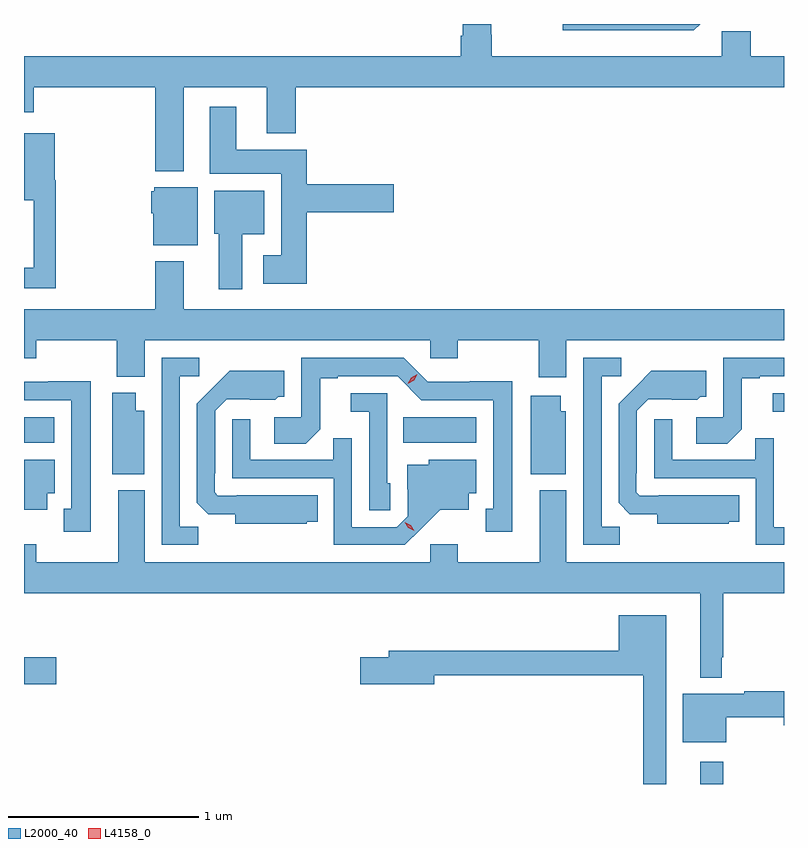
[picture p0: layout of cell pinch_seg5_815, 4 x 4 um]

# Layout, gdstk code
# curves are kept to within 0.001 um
import gdstk
lib = gdstk.Library(unit=1e-6, precision=1e-09)
def R(c, l, rs):  # rectangles x0, y0, x1, y1
    for r in rs: c.add(gdstk.rectangle(r[:2], r[2:], *l))
def P(c, l, *ps):  # polygons
    for p in ps: c.add(gdstk.Polygon(p, *l))
L2000_40 = (2000, 40)
L4158_0 = (4158, 0)

pinch_seg5_815 = lib.new_cell('pinch_seg5_815')
R(pinch_seg5_815, L2000_40, [(770.075,889.057,770.197,889.174), (766.517,889.583,766.687,889.725), (766.517,890.852,766.675,890.986), (768.514,890.852,768.898,890.986), (770.457,891.017,770.517,891.114)])
P(pinch_seg5_815, L2000_40, [(767.359,892.724),(767.795,892.724),(767.795,892.481),(767.948,892.481),(767.948,892.724),(770.517,892.724),(770.517,892.888),(770.342,892.888),(770.342,893.02),(770.19,893.02),(770.19,892.888),(768.98,892.888),(768.98,893.001),(768.975,893.001),(768.975,893.057),(768.827,893.057),(768.827,892.994),(768.815,892.994),(768.815,892.888),(766.517,892.888),(766.517,892.593),(766.568,892.593),(766.568,892.724),(767.207,892.724),(767.207,892.283),(767.359,892.283)],
  [(770.075,893.057),(769.353,893.057),(769.353,893.024),(770.042,893.024)],
  [(768.005,892.067),(768.463,892.067),(768.463,892.214),(768.005,892.214),(768.005,892.396),(767.635,892.396),(767.635,892.621),(767.495,892.621),(767.495,892.268),(767.87,892.268),(767.87,891.841),(767.775,891.841),(767.775,891.689),(768.005,891.689)],
  [(766.685,892.234),(766.679,892.234),(766.679,892.483),(766.517,892.483),(766.517,892.13),(766.568,892.13),(766.568,891.775),(766.517,891.775),(766.517,891.666),(766.685,891.666)],
  [(767.431,892.198),(767.202,892.198),(767.202,892.176),(767.186,892.176),(767.186,892.062),(767.198,892.062),(767.198,891.893),(767.431,891.893)],
  [(767.665,891.95),(767.782,891.95),(767.782,892.18),(767.519,892.18),(767.519,891.954),(767.543,891.954),(767.543,891.66),(767.665,891.66)],
  [(769.372,891.392),(770.517,891.392),(770.517,891.556),(767.359,891.556),(767.359,891.808),(767.207,891.808),(767.207,891.556),(766.517,891.556),(766.517,891.299),(766.581,891.299),(766.581,891.392),(767.005,891.392),(767.005,891.2),(767.152,891.2),(767.152,891.392),(768.654,891.392),(768.654,891.299),(768.801,891.299),(768.801,891.392),(769.225,891.392),(769.225,891.198),(769.372,891.198)],
  [(769.653,890.411),(769.557,890.411),(769.557,891.204),(769.66,891.204),(769.66,891.3),(769.461,891.3),(769.461,890.316),(769.653,890.316)],
  [(767.433,890.411),(767.337,890.411),(767.337,891.204),(767.44,891.204),(767.44,891.3),(767.241,891.3),(767.241,890.316),(767.433,890.316)],
  [(769.087,891.176),(768.864,891.176),(768.864,891.174),(768.642,891.174),(768.516,891.3),(767.976,891.3),(767.976,890.988),(767.835,890.988),(767.835,890.848),(767.999,890.848),(768.075,890.924),(768.075,891.192),(768.169,891.192),(768.169,891.204),(768.483,891.204),(768.609,891.078),(768.986,891.078),(768.986,890.505),(768.947,890.505),(768.947,890.385),(769.087,890.385)],
  [(770.295,890.924),(770.295,891.192),(770.389,891.192),(770.389,891.204),(770.517,891.204),(770.517,891.3),(770.196,891.3),(770.196,890.988),(770.055,890.988),(770.055,890.848),(770.219,890.848)],
  [(770.226,890.438),(770.282,890.438),(770.282,890.578),(769.858,890.578),(769.858,890.574),(769.758,890.574),(769.74,890.592),(769.74,890.692),(769.743,890.692),(769.743,891.021),(769.803,891.081),(770.06,891.08),(770.076,891.096),(770.107,891.096),(770.107,891.232),(769.819,891.232),(769.647,891.058),(769.647,890.536),(769.706,890.477),(769.85,890.477),(769.85,890.426),(770.226,890.426)],
  [(768.006,890.438),(768.062,890.438),(768.062,890.578),(767.638,890.578),(767.638,890.574),(767.538,890.574),(767.52,890.592),(767.52,890.692),(767.523,890.692),(767.523,891.021),(767.583,891.081),(767.84,891.08),(767.856,891.096),(767.887,891.096),(767.887,891.232),(767.599,891.232),(767.427,891.058),(767.427,890.536),(767.486,890.477),(767.63,890.477),(767.63,890.426),(768.006,890.426)],
  [(766.867,891.176),(766.644,891.176),(766.644,891.174),(766.517,891.174),(766.517,891.078),(766.766,891.078),(766.766,890.505),(766.727,890.505),(766.727,890.385),(766.867,890.385)],
  [(767.149,891.022),(767.104,891.022),(767.104,891.115),(766.982,891.115),(766.982,890.687),(767.149,890.687)],
  [(768.444,890.64),(768.429,890.64),(768.429,891.114),(768.237,891.114),(768.237,891.017),(768.333,891.017),(768.333,890.497),(768.444,890.497)],
  [(769.369,891.018),(769.342,891.018),(769.342,891.1),(769.184,891.1),(769.184,890.687),(769.369,890.687)],
  [(770.517,890.409),(770.463,890.409),(770.463,890.876),(770.365,890.876),(770.365,890.763),(769.929,890.763),(769.929,890.977),(769.833,890.977),(769.833,890.667),(770.367,890.667),(770.367,890.316),(770.517,890.316)],
  [(768.604,890.399),(768.707,890.501),(768.859,890.501),(768.859,890.588),(768.898,890.588),(768.898,890.764),(768.648,890.764),(768.648,890.737),(768.533,890.737),(768.533,890.608),(768.537,890.608),(768.537,890.466),(768.48,890.409),(768.243,890.409),(768.243,890.876),(768.145,890.876),(768.145,890.763),(767.709,890.763),(767.709,890.977),(767.613,890.977),(767.613,890.667),(768.147,890.667),(768.147,890.316),(768.52,890.316)],
  [(766.639,890.588),(766.678,890.588),(766.678,890.764),(766.517,890.764),(766.517,890.501),(766.639,890.501)],
  [(770.19,889.723),(770.197,889.723),(770.197,890.06),(770.517,890.06),(770.517,890.224),(769.372,890.224),(769.372,890.602),(769.232,890.602),(769.232,890.224),(768.801,890.224),(768.801,890.32),(768.654,890.32),(768.654,890.224),(767.152,890.224),(767.152,890.602),(767.012,890.602),(767.012,890.224),(766.581,890.224),(766.581,890.32),(766.517,890.32),(766.517,890.06),(770.075,890.06),(770.075,889.616),(770.19,889.616)],
  [(769.897,889.945),(769.646,889.945),(769.646,889.759),(768.437,889.759),(768.437,889.725),(768.288,889.725),(768.288,889.583),(768.676,889.583),(768.676,889.63),(769.776,889.63),(769.776,889.057),(769.897,889.057)],
  [(770.212,889.408),(770.516,889.408),(770.516,889.366),(770.517,889.366),(770.517,889.544),(770.308,889.544),(770.308,889.531),(769.985,889.531),(769.985,889.277),(770.212,889.277)])
P(pinch_seg5_815, L4158_0, [(768.538,891.163),(768.538,891.163),(768.555,891.195),(768.587,891.214),(768.588,891.214),(768.588,891.214),(768.57,891.181),(768.538,891.163)],
  [(768.571,890.391),(768.54,890.405),(768.522,890.435),(768.522,890.435),(768.522,890.435),(768.553,890.42),(768.571,890.391),(768.571,890.391)])

lib.write_gds('pinch_seg5_815.gds')
